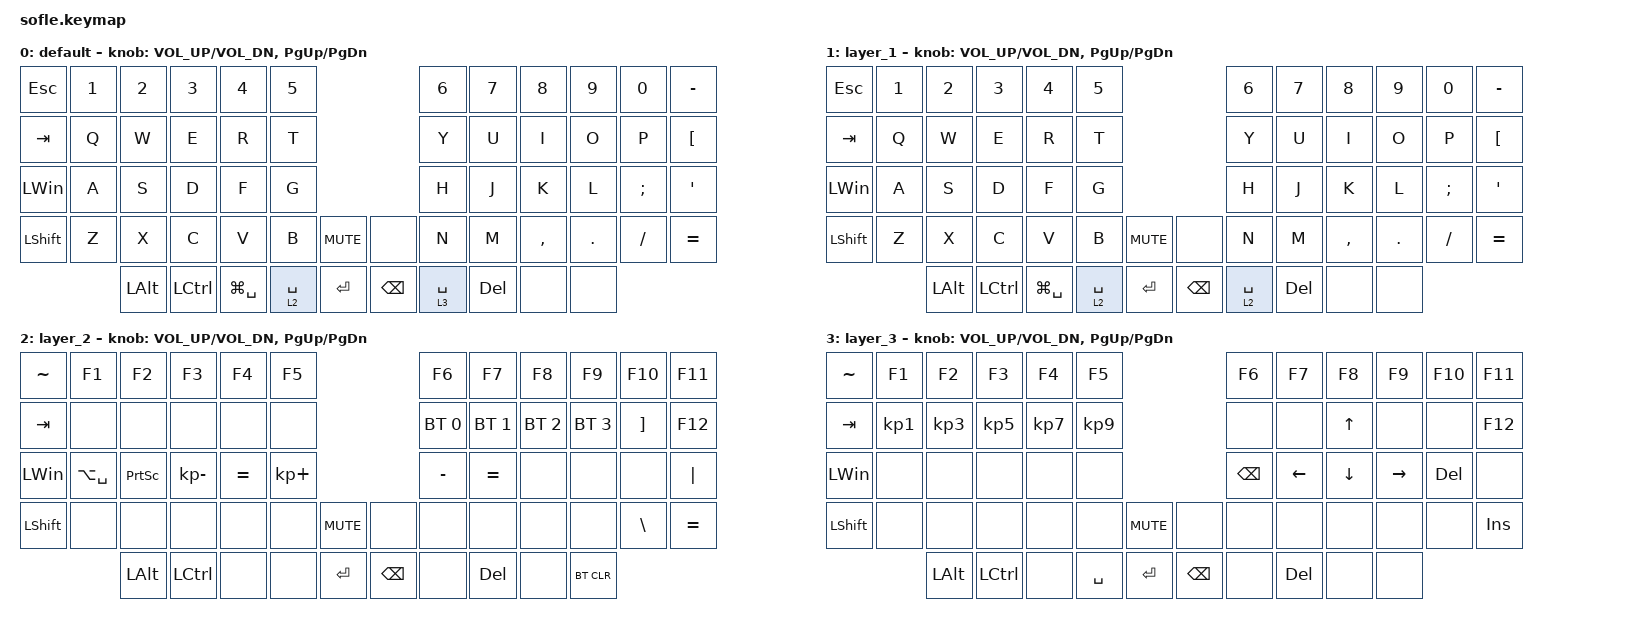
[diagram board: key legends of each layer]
/*
 * Copyright (c) 2020 The ZMK Contributors
 *
 * SPDX-License-Identifier: MIT
 */

#include <behaviors.dtsi>
#include <dt-bindings/zmk/bt.h>
#include <dt-bindings/zmk/keys.h>

#define BASE 0
#define LOWER 1
#define RAISE 2
#define ADJUST 3

/ {
    // Activate ADJUST layer by pressing raise and lower

    conditional_layers { compatible = "zmk,conditional-layers"; };

    behaviors {
        spacefn: spacefn {
            compatible = "zmk,behavior-hold-tap";
            label = "SPACEFN";
            bindings = <&mo>, <&kp>;

            #binding-cells = <2>;
            tapping-term-ms = <200>;
            flavor = "tap-preferred";
        };
    };

    keymap {
        compatible = "zmk,keymap";

        default_layer {
            display-name = "default";

            // ------------------------------------------------------------------------------------------------------------
            // |   `   |  1  |  2  |  3   |  4   |  5   |                   |  6   |  7    |  8    |  9   |   0   |       |
            // |  ESC  |  Q  |  W  |  E   |  R   |  T   |                   |  Y   |  U    |  I    |  O   |   P   | BKSPC |
            // |  TAB  |  A  |  S  |  D   |  F   |  G   |                   |  H   |  J    |  K    |  L   |   ;   |   '   |
            // | SHIFT |  Z  |  X  |  C   |  V   |  B   |  MUTE  |  |       |  N   |  M    |  ,    |  .   |   /   | SHIFT |
            //               | GUI | ALT  | CTRL | LOWER|  ENTER |  | SPACE | RAISE| CTRL  | ALT   | GUI  |

            bindings = <
&kp ESC    &kp N1  &kp N2    &kp N3     &kp N4         &kp N5                                         &kp N6            &kp N7   &kp N8     &kp N9   &kp N0    &kp MINUS
&kp TAB    &kp Q   &kp W     &kp E      &kp R          &kp T                                          &kp Y             &kp U    &kp I      &kp O    &kp P     &kp LEFT_BRACKET
&kp LWIN   &kp A   &kp S     &kp D      &kp F          &kp G                                          &kp H             &kp J    &kp K      &kp L    &kp SEMI  &kp SQT
&kp LSHFT  &kp Z   &kp X     &kp C      &kp V          &kp B             &kp C_MUTE    &none          &kp N             &kp M    &kp COMMA  &kp DOT  &kp FSLH  &kp EQUAL
                   &kp LALT  &kp LCTRL  &kp LG(SPACE)  &spacefn 2 SPACE  &kp ENTER     &kp BACKSPACE  &spacefn 3 SPACE  &kp DEL  &none      &none
            >;

            sensor-bindings = <&inc_dec_kp C_VOL_UP C_VOL_DN &inc_dec_kp PG_UP PG_DN>;
        };

        layer_1 {
            display-name = "layer_1";
            bindings = <
&kp ESC    &kp N1  &kp N2    &kp N3     &kp N4         &kp N5                                         &kp N6            &kp N7   &kp N8     &kp N9   &kp N0    &kp MINUS
&kp TAB    &kp Q   &kp W     &kp E      &kp R          &kp T                                          &kp Y             &kp U    &kp I      &kp O    &kp P     &kp LEFT_BRACKET
&kp LWIN   &kp A   &kp S     &kp D      &kp F          &kp G                                          &kp H             &kp J    &kp K      &kp L    &kp SEMI  &kp SQT
&kp LSHFT  &kp Z   &kp X     &kp C      &kp V          &kp B             &kp C_MUTE    &none          &kp N             &kp M    &kp COMMA  &kp DOT  &kp FSLH  &kp EQUAL
                   &kp LALT  &kp LCTRL  &kp LG(SPACE)  &spacefn 2 SPACE  &kp ENTER     &kp BACKSPACE  &spacefn 2 SPACE  &kp DEL  &none      &none
            >;

            sensor-bindings =
                <&inc_dec_kp C_VOL_UP C_VOL_DN>,
                <&inc_dec_kp PG_UP PG_DN>;
        };

        layer_2 {
            display-name = "layer_2";
            bindings = <
&kp TILDE  &kp F1         &kp F2           &kp F3            &kp F4     &kp F5                                    &kp F6        &kp F7        &kp F8        &kp F9        &kp F10            &kp F11
&kp TAB    &none          &none            &none             &none      &none                                     &bt BT_SEL 0  &bt BT_SEL 1  &bt BT_SEL 2  &bt BT_SEL 3  &kp RIGHT_BRACKET  &kp F12
&kp LWIN   &kp LA(SPACE)  &kp PRINTSCREEN  &kp KP_MINUS      &kp EQUAL  &kp KP_PLUS                               &kp MINUS     &kp EQUAL     &none         &none         &none              &kp PIPE
&kp LSHFT  &none          &none            &none             &none      &none        &kp C_MUTE    &none          &none         &none         &none         &none         &kp BACKSLASH      &kp EQUAL
                          &kp LALT         &kp LEFT_CONTROL  &none      &none        &kp ENTER     &kp BACKSPACE  &none         &kp DEL       &none         &bt BT_CLR
            >;

            sensor-bindings =
                <&inc_dec_kp C_VOL_UP C_VOL_DN>,
                <&inc_dec_kp PG_UP PG_DN>;
        };

        layer_3 {
            display-name = "layer_3";
            bindings = <
&kp TILDE  &kp F1           &kp F2           &kp F3            &kp F4           &kp F5                                        &kp F6         &kp F7          &kp F8        &kp F9           &kp F10  &kp F11
&kp TAB    &kp KP_NUMBER_1  &kp KP_NUMBER_3  &kp KP_NUMBER_5   &kp KP_NUMBER_7  &kp KP_NUMBER_9                               &none          &none           &kp UP_ARROW  &none            &none    &kp F12
&kp LWIN   &none            &none            &none             &none            &none                                         &kp BACKSPACE  &kp LEFT_ARROW  &kp DOWN      &kp RIGHT_ARROW  &kp DEL  &none
&kp LSHFT  &none            &none            &none             &none            &none            &kp C_MUTE    &none          &none          &none           &none         &none            &none    &kp INS
                            &kp LALT         &kp LEFT_CONTROL  &none            &kp SPACE        &kp ENTER     &kp BACKSPACE  &none          &kp DEL         &none         &none
            >;

            sensor-bindings =
                <&inc_dec_kp C_VOL_UP C_VOL_DN>,
                <&inc_dec_kp PG_UP PG_DN>;
        };
    };
};
